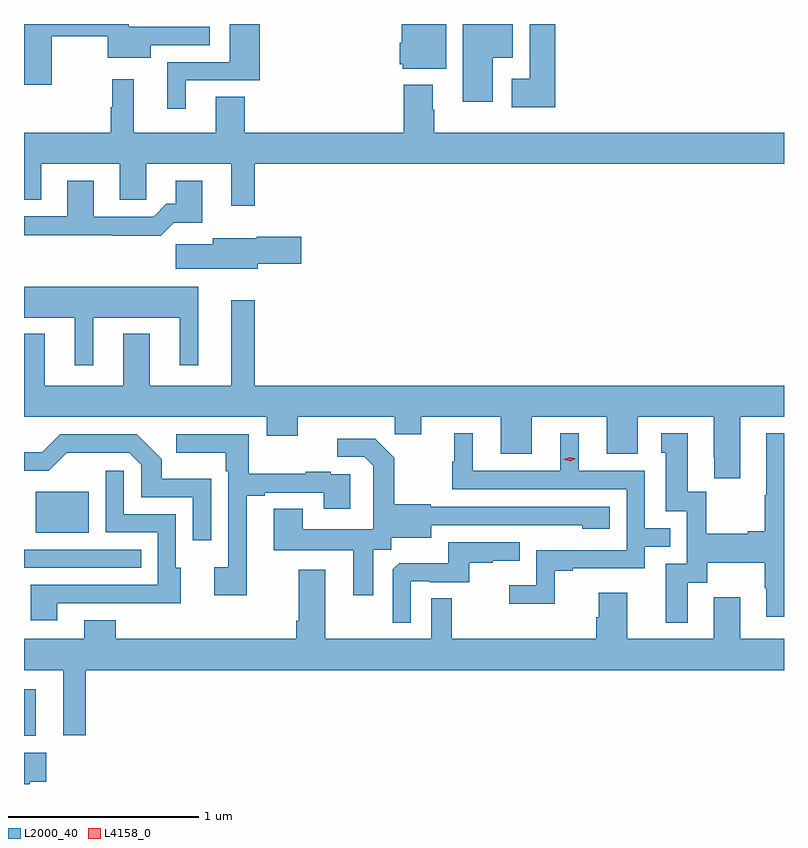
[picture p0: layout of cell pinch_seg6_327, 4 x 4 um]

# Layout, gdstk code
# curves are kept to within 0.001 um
import gdstk
lib = gdstk.Library(unit=1e-6, precision=1e-09)
def R(c, l, rs):  # rectangles x0, y0, x1, y1
    for r in rs: c.add(gdstk.rectangle(r[:2], r[2:], *l))
def P(c, l, *ps):  # polygons
    for p in ps: c.add(gdstk.Polygon(p, *l))
L2000_40 = (2000, 40)
L4158_0 = (4158, 0)

pinch_seg6_327 = lib.new_cell('pinch_seg6_327')
R(pinch_seg6_327, L2000_40, [(693.725,962.975,693.787,963.22), (693.725,963.858,694.343,963.954), (693.788,964.043,694.066,964.258)])
P(pinch_seg6_327, L2000_40, [(696.193,966.542),(696.298,966.542),(696.298,966.72),(696.035,966.72),(696.035,966.312),(696.193,966.312)],
  [(695.947,966.72),(695.714,966.72),(695.714,966.621),(695.702,966.621),(695.702,966.507),(695.718,966.507),(695.718,966.485),(695.947,966.485)],
  [(694.576,966.423),(694.967,966.423),(694.967,966.72),(694.808,966.72),(694.808,966.519),(694.478,966.519),(694.478,966.273),(694.576,966.273)],
  [(696.521,966.72),(696.386,966.72),(696.386,966.433),(696.291,966.433),(696.291,966.281),(696.521,966.281)],
  [(693.87,966.656),(694.166,966.656),(694.166,966.542),(694.393,966.542),(694.393,966.609),(694.702,966.609),(694.702,966.705),(694.276,966.705),(694.276,966.72),(693.725,966.72),(693.725,966.399),(693.87,966.399)],
  [(694.939,965.984),(697.725,965.984),(697.725,966.148),(695.883,966.148),(695.883,966.269),(695.875,966.269),(695.875,966.4),(695.723,966.4),(695.723,966.148),(694.886,966.148),(694.886,966.338),(694.733,966.338),(694.733,966.148),(694.303,966.148),(694.303,966.43),(694.189,966.43),(694.189,966.281),(694.182,966.281),(694.182,966.148),(693.725,966.148),(693.725,965.794),(693.817,965.794),(693.817,965.984),(694.229,965.984),(694.229,965.794),(694.368,965.794),(694.368,965.984),(694.817,965.984),(694.817,965.763),(694.939,965.763)],
  [(694.514,965.675),(694.663,965.675),(694.663,965.896),(694.523,965.896),(694.523,965.773),(694.474,965.773),(694.407,965.706),(694.093,965.706),(694.093,965.896),(693.953,965.896),(693.953,965.709),(693.725,965.709),(693.725,965.608),(694.189,965.608),(694.189,965.606),(694.445,965.606)],
  [(694.954,965.459),(695.185,965.459),(695.185,965.601),(694.95,965.601),(694.95,965.593),(694.718,965.593),(694.718,965.561),(694.524,965.561),(694.524,965.432),(694.954,965.432)],
  [(694.09,965.174),(694.544,965.174),(694.544,964.923),(694.642,964.923),(694.642,965.338),(693.725,965.338),(693.725,965.174),(693.992,965.174),(693.992,964.923),(694.09,964.923)],
  [(697.495,964.652),(697.725,964.652),(697.725,964.816),(694.939,964.816),(694.939,965.266),(694.817,965.266),(694.817,964.816),(694.387,964.816),(694.387,965.089),(694.247,965.089),(694.247,964.816),(693.835,964.816),(693.835,965.089),(693.725,965.089),(693.725,964.652),(695.003,964.652),(695.003,964.553),(695.167,964.553),(695.167,964.652),(695.677,964.652),(695.677,964.562),(695.815,964.562),(695.815,964.652),(696.233,964.652),(696.233,964.458),(696.397,964.458),(696.397,964.652),(696.791,964.652),(696.791,964.458),(696.955,964.458),(696.955,964.652),(697.355,964.652),(697.355,964.441),(697.358,964.441),(697.358,964.329),(697.495,964.329)],
  [(696.519,963.843),(696.613,963.843),(696.613,963.855),(696.993,963.855),(696.993,963.969),(697.127,963.969),(697.127,964.065),(696.993,964.065),(696.993,964.368),(696.646,964.368),(696.646,964.567),(696.548,964.567),(696.548,964.368),(696.088,964.368),(696.088,964.567),(695.99,964.567),(695.99,964.416),(695.979,964.416),(695.979,964.272),(696.897,964.272),(696.897,963.951),(696.42,963.951),(696.42,963.766),(696.279,963.766),(696.279,963.668),(696.519,963.668)],
  [(697.219,963.778),(697.321,963.778),(697.321,963.884),(697.624,963.884),(697.624,963.75),(697.631,963.75),(697.631,963.6),(697.725,963.6),(697.725,964.567),(697.631,964.567),(697.631,964.241),(697.624,964.241),(697.624,964.049),(697.535,964.049),(697.535,964.036),(697.317,964.036),(697.317,964.259),(697.219,964.259),(697.219,964.567),(697.079,964.567),(697.079,964.464),(697.103,964.464),(697.103,964.155),(697.212,964.155),(697.212,963.879),(697.103,963.879),(697.103,963.57),(697.219,963.57)],
  [(694.71,964.327),(694.449,964.327),(694.449,964.43),(694.318,964.56),(693.915,964.56),(693.821,964.466),(693.725,964.466),(693.725,964.368),(693.855,964.368),(693.95,964.463),(694.278,964.464),(694.341,964.401),(694.341,964.23),(694.614,964.23),(694.614,964.002),(694.71,964.002)],
  [(694.897,964.236),(694.993,964.236),(694.993,964.254),(695.303,964.254),(695.303,964.17),(695.443,964.17),(695.443,964.35),(695.339,964.35),(695.339,964.363),(695.207,964.363),(695.207,964.352),(694.909,964.352),(694.909,964.56),(694.527,964.56),(694.527,964.463),(694.788,964.463),(694.788,964.367),(694.8,964.367),(694.8,963.862),(694.725,963.862),(694.725,963.714),(694.897,963.714)],
  [(695.563,963.952),(695.658,963.952),(695.658,964.016),(695.869,964.016),(695.869,964.083),(696.663,964.082),(696.663,964.064),(696.808,964.064),(696.808,964.179),(695.865,964.179),(695.865,964.192),(695.673,964.192),(695.673,964.437),(695.573,964.537),(695.373,964.537),(695.373,964.443),(695.517,964.443),(695.564,964.396),(695.564,964.301),(695.562,964.301),(695.562,964.06),(695.191,964.06),(695.191,964.169),(695.039,964.169),(695.039,963.95),(695.459,963.95),(695.459,963.714),(695.563,963.714)],
  [(693.901,963.672),(694.331,963.672),(694.331,963.671),(694.549,963.671),(694.549,963.858),(694.524,963.858),(694.524,964.14),(694.251,964.14),(694.251,964.369),(694.155,964.369),(694.155,964.044),(694.428,964.044),(694.428,963.768),(693.761,963.768),(693.761,963.582),(693.901,963.582)],
  [(695.76,963.786),(695.86,963.786),(695.86,963.783),(696.068,963.783),(696.068,963.885),(696.191,963.885),(696.191,963.896),(696.335,963.896),(696.335,963.993),(695.958,963.993),(695.958,963.881),(695.699,963.881),(695.667,963.849),(695.667,963.569),(695.76,963.569)],
  [(694.049,963.32),(697.725,963.32),(697.725,963.484),(697.495,963.484),(697.495,963.703),(697.355,963.703),(697.355,963.484),(696.901,963.484),(696.901,963.727),(696.749,963.727),(696.749,963.597),(696.737,963.597),(696.737,963.484),(695.977,963.484),(695.977,963.698),(695.868,963.698),(695.868,963.484),(695.311,963.484),(695.311,963.847),(695.171,963.847),(695.171,963.58),(695.159,963.58),(695.159,963.484),(694.207,963.484),(694.207,963.583),(694.043,963.583),(694.043,963.484),(693.725,963.484),(693.725,963.32),(693.932,963.32),(693.932,962.976),(694.049,962.976)],
  [(693.755,962.732),(693.841,962.732),(693.841,962.884),(693.725,962.884),(693.725,962.72),(693.755,962.72)])
P(pinch_seg6_327, L4158_0, [(696.597,964.42),(696.562,964.429),(696.561,964.43),(696.562,964.43),(696.597,964.44),(696.632,964.431),(696.633,964.431),(696.632,964.431)])

lib.write_gds('pinch_seg6_327.gds')
